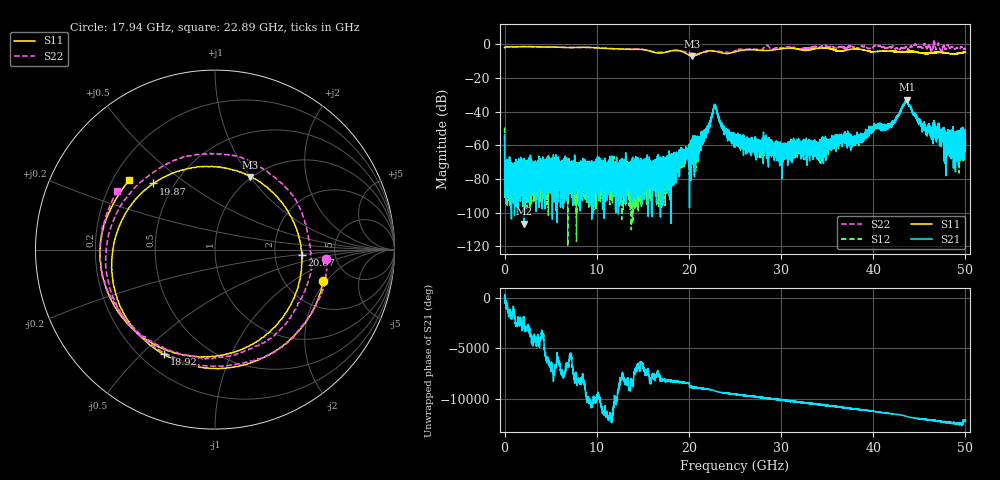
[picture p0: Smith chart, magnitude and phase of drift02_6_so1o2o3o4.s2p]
!Created with skrf (http://scikit-rf.org).
# Hz S RI R 50.0
!freq ReS11 ImS11 ReS21 ImS21 ReS12 ImS12 ReS22 ImS22
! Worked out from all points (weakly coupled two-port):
!   10001 points, 300 kHz to 50 GHz, reference 50 ohm
!   highest |S21| = -32.90 dB at 43.64 GHz (marker M1); lowest = -106.6 dB at 2.1 GHz (marker M2)
!   lowest |S11| = -6.9 dB at 20.36 GHz (marker M3), VSWR 2.64, Z = 49.2 + j50 ohm
!   |S11| at or under -10 dB: nowhere
!   |S22| runs from -5.7 to 2.3 dB; largest |S21 - S12| = 0.0033
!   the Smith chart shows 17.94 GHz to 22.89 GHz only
!   S11 on the Smith chart (normalised r, x): 17.94 GHz: 3.21, -1.87; 18.92 GHz: 0.29, -0.59; 19.87 GHz: 0.38, +0.38; 20.87 GHz: 2.86, -0.23; 22.89 GHz: 0.27, +0.33
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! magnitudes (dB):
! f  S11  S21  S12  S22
! 300 kHz  -2.0  -53.7  -49.4  -2.1
! 255.3 MHz  -1.4  -70.6  -78.8  -1.4
! 2.1 GHz  -1.3  -106.6  -80.3  -1.3
! 8.335 GHz  -1.7  -76.2  -72.5  -1.9
! 16.67 GHz  -5.2  -77.8  -76.4  -4.7
! 17.94 GHz  -4.0  -69.2  -72.5  -4.1
! 18.92 GHz  -3.7  -78.7  -69.0  -3.9
! 19.87 GHz  -6.0  -62.8  -66.1  -5.1
! 20.36 GHz  -6.9  -69.1  -59.6  -5.4
! 20.87 GHz  -6.3  -60.8  -58.7  -5.6
! 22.89 GHz  -4.2  -36.7  -36.6  -4.0
! 23.74 GHz  -5.3  -49.3  -50.7  -4.6
! 25 GHz  -4.5  -59.2  -57.0  -3.9
! 29.95 GHz  -2.7  -71.2  -64.2  -2.0
! 33.34 GHz  -3.0  -59.8  -59.8  -1.6
! 38.02 GHz  -2.7  -57.8  -57.7  -2.1
! 40.33 GHz  -4.4  -49.0  -48.8  -0.9
! 41.67 GHz  -4.0  -48.1  -48.6  -1.8
! 43.64 GHz  -4.4  -32.9  -33.7  -1.8
! 45.65 GHz  -5.3  -48.7  -49.0  -0.1
! 49.22 GHz  -5.4  -58.0  -67.1  -2.6
! 50 GHz  -4.7  -59.4  -53.8  -2.6
